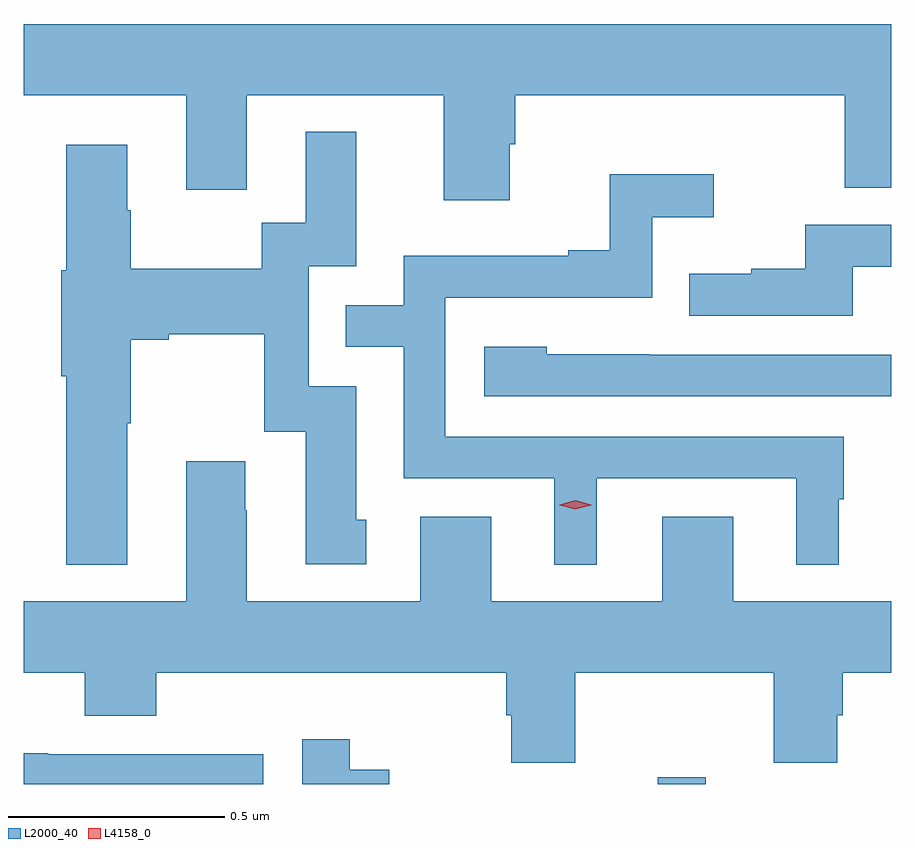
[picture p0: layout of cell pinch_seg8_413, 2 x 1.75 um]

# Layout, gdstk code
import gdstk
lib = gdstk.Library(unit=1e-6, precision=1e-09)
def R(c, l, rs):  # rectangles x0, y0, x1, y1
    for r in rs: c.add(gdstk.rectangle(r[:2], r[2:], *l))
def P(c, l, *ps):  # polygons
    for p in ps: c.add(gdstk.Polygon(p, *l))
L2000_40 = (2000, 40)
L4158_0 = (4158, 0)

pinch_seg8_413 = lib.new_cell('pinch_seg8_413')
R(pinch_seg8_413, L2000_40, [(532.207,1108.251,532.318,1108.267)])
P(pinch_seg8_413, L2000_40, [(530.745,1109.84),(531.119,1109.84),(531.119,1109.622),(531.259,1109.622),(531.259,1109.84),(531.713,1109.84),(531.713,1109.598),(531.865,1109.598),(531.865,1109.727),(531.878,1109.727),(531.878,1109.84),(532.638,1109.84),(532.638,1109.626),(532.745,1109.626),(532.745,1110.004),(530.745,1110.004)],
  [(530.983,1109.083),(530.991,1109.083),(530.991,1109.276),(531.079,1109.276),(531.079,1109.288),(531.299,1109.288),(531.299,1109.064),(531.395,1109.064),(531.395,1108.758),(531.535,1108.758),(531.535,1108.86),(531.511,1108.86),(531.511,1109.169),(531.402,1109.169),(531.402,1109.445),(531.511,1109.445),(531.511,1109.755),(531.395,1109.755),(531.395,1109.546),(531.294,1109.546),(531.294,1109.44),(530.991,1109.44),(530.991,1109.574),(530.983,1109.574),(530.983,1109.725),(530.843,1109.725),(530.843,1109.436),(530.831,1109.436),(530.831,1109.192),(530.843,1109.192),(530.843,1108.757),(530.983,1108.757)],
  [(532.066,1108.956),(532.526,1108.956),(532.526,1108.757),(532.624,1108.757),(532.624,1108.908),(532.636,1108.908),(532.636,1109.052),(531.717,1109.052),(531.717,1109.373),(532.194,1109.373),(532.194,1109.558),(532.336,1109.558),(532.336,1109.657),(532.096,1109.657),(532.096,1109.482),(532.001,1109.482),(532.001,1109.469),(531.621,1109.469),(531.621,1109.355),(531.487,1109.355),(531.487,1109.259),(531.621,1109.259),(531.621,1108.956),(531.968,1108.956),(531.968,1108.757),(532.066,1108.757)],
  [(532.657,1109.444),(532.745,1109.444),(532.745,1109.541),(532.547,1109.541),(532.547,1109.44),(532.423,1109.44),(532.423,1109.428),(532.279,1109.428),(532.279,1109.331),(532.657,1109.331)],
  [(532.745,1109.241),(532.187,1109.241),(532.187,1109.242),(531.951,1109.242),(531.951,1109.26),(531.807,1109.26),(531.807,1109.145),(532.745,1109.145)],
  [(532.017,1108.508),(532.474,1108.508),(532.474,1108.3),(532.621,1108.3),(532.621,1108.41),(532.634,1108.41),(532.634,1108.508),(532.745,1108.508),(532.745,1108.672),(532.381,1108.672),(532.381,1108.867),(532.217,1108.867),(532.217,1108.672),(531.823,1108.672),(531.823,1108.867),(531.659,1108.867),(531.659,1108.672),(531.259,1108.672),(531.259,1108.883),(531.256,1108.883),(531.256,1108.996),(531.119,1108.996),(531.119,1108.672),(530.745,1108.672),(530.745,1108.508),(530.885,1108.508),(530.885,1108.409),(531.05,1108.409),(531.05,1108.508),(531.857,1108.508),(531.857,1108.41),(531.869,1108.41),(531.869,1108.3),(532.017,1108.3)],
  [(531.588,1108.284),(531.496,1108.284),(531.496,1108.354),(531.387,1108.354),(531.387,1108.251),(531.588,1108.251)],
  [(531.297,1108.32),(530.801,1108.32),(530.801,1108.322),(530.745,1108.322),(530.745,1108.251),(531.297,1108.251)])
P(pinch_seg8_413, L4158_0, [(532.017,1108.885),(531.981,1108.894),(531.981,1108.895),(531.981,1108.895),(532.017,1108.905),(532.053,1108.895),(532.053,1108.895),(532.053,1108.894)])

lib.write_gds('pinch_seg8_413.gds')
